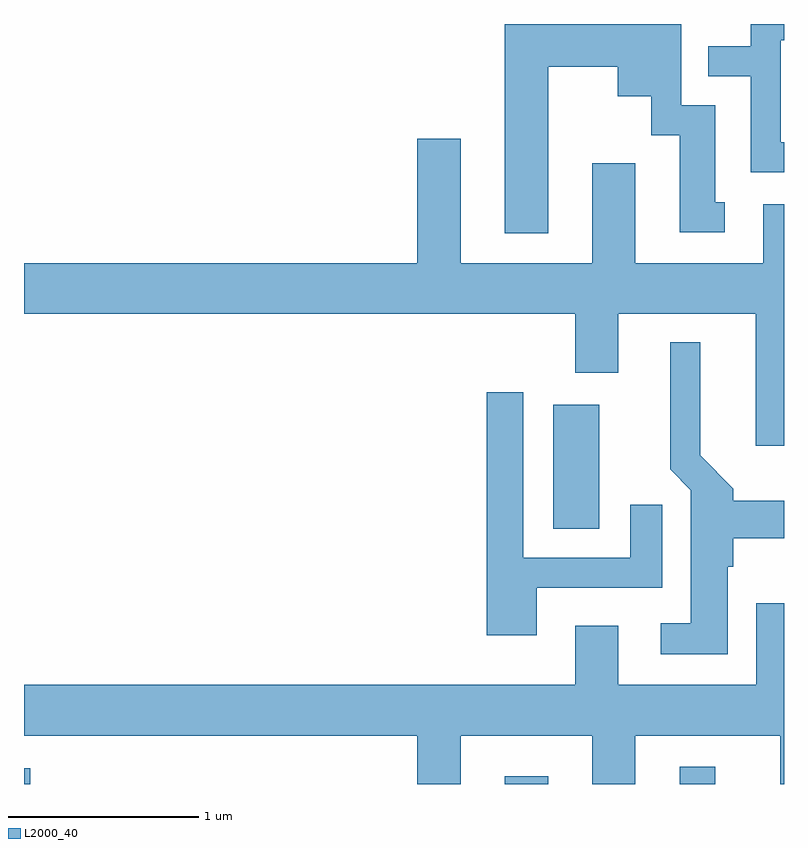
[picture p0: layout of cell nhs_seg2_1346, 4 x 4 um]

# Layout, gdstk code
import gdstk
lib = gdstk.Library(unit=1e-6, precision=1e-09)
def R(c, l, rs):  # rectangles x0, y0, x1, y1
    for r in rs: c.add(gdstk.rectangle(r[:2], r[2:], *l))
def P(c, l, *ps):  # polygons
    for p in ps: c.add(gdstk.Polygon(p, *l))
L2000_40 = (2000, 40)

nhs_seg2_1346 = lib.new_cell('nhs_seg2_1346')
R(nhs_seg2_1346, L2000_40, [(223.611,1085.802,223.644,1085.884), (226.141,1085.802,226.369,1085.844), (227.061,1085.802,227.249,1085.894), (226.396,1087.146,226.639,1087.799)])
P(nhs_seg2_1346, L2000_40, [(226.369,1089.576),(226.736,1089.576),(226.736,1089.421),(226.911,1089.421),(226.911,1089.216),(227.061,1089.216),(227.061,1088.706),(227.298,1088.706),(227.298,1088.864),(227.249,1088.864),(227.249,1089.374),(227.069,1089.374),(227.069,1089.802),(226.141,1089.802),(226.141,1088.701),(226.369,1088.701)],
  [(227.611,1089.179),(227.594,1089.179),(227.594,1089.716),(227.611,1089.716),(227.611,1089.802),(227.436,1089.802),(227.436,1089.684),(227.213,1089.684),(227.213,1089.526),(227.436,1089.526),(227.436,1089.021),(227.611,1089.021)],
  [(227.611,1088.854),(227.501,1088.854),(227.501,1088.544),(226.829,1088.544),(226.829,1089.069),(226.601,1089.069),(226.601,1088.544),(225.909,1088.544),(225.909,1089.199),(225.681,1089.199),(225.681,1088.544),(223.611,1088.544),(223.611,1088.276),(226.511,1088.276),(226.511,1087.966),(226.739,1087.966),(226.739,1088.276),(227.461,1088.276),(227.461,1087.581),(227.611,1087.581)],
  [(227.314,1086.946),(227.344,1086.946),(227.344,1087.096),(227.611,1087.096),(227.611,1087.294),(227.344,1087.294),(227.344,1087.357),(227.169,1087.532),(227.169,1088.128),(227.011,1088.128),(227.011,1087.459),(227.121,1087.349),(227.121,1086.649),(226.963,1086.649),(226.963,1086.486),(227.314,1086.486)],
  [(226.309,1086.836),(226.969,1086.836),(226.969,1087.273),(226.801,1087.273),(226.801,1086.994),(226.239,1086.994),(226.239,1087.864),(226.046,1087.864),(226.046,1086.586),(226.309,1086.586)],
  [(225.909,1086.056),(226.601,1086.056),(226.601,1085.802),(226.829,1085.802),(226.829,1086.056),(227.591,1086.056),(227.591,1085.802),(227.611,1085.802),(227.611,1086.753),(227.466,1086.753),(227.466,1086.324),(226.739,1086.324),(226.739,1086.634),(226.511,1086.634),(226.511,1086.324),(223.611,1086.324),(223.611,1086.056),(225.681,1086.056),(225.681,1085.802),(225.909,1085.802)])

lib.write_gds('nhs_seg2_1346.gds')
